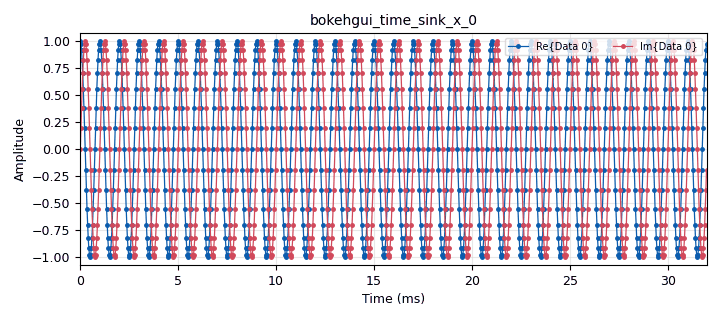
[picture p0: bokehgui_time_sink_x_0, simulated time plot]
options:
  parameters:
    author: rootkid
    generate_options: bokeh_gui
    generator_class_name: TopBlockGenerator
    generator_module: gnuradio_companion.workflows.python_bokeh_gui
    id: test_python_bokeh_gui_workflow
    output_language: python
    placement: (0, 0)
    title: Not titled yet
  states: {}

blocks:
- name: samp_rate
  id: variable
  parameters:
    value: '32000'
  states: {}
- name: analog_sig_source_x_0
  id: analog_sig_source_x
  parameters:
    amp: '1'
    freq: '1000'
    offset: '0'
    phase: '0'
    samp_rate: samp_rate
    type: complex
    waveform: analog.GR_COS_WAVE
  states: {}
- name: blocks_throttle2_0
  id: blocks_throttle2
  parameters:
    samples_per_second: samp_rate
    type: complex
  states: {}
- name: bokehgui_time_sink_x_0
  id: bokehgui_time_sink_x
  parameters:
    alpha1: '1.0'
    alpha2: '1.0'
    axislabels: 'True'
    color1: '"blue"'
    color2: '"red"'
    entags: 'True'
    grid: 'False'
    label1: ''
    label2: ''
    legend: 'True'
    marker1: None
    marker2: None
    name: '""'
    nconnections: '1'
    placement: (1, 1)
    size: '1024'
    srate: samp_rate
    style1: '"solid"'
    style2: '"solid"'
    tr_chan: '0'
    tr_delay: '0'
    tr_level: '0.0'
    tr_mode: bokehgui.TRIG_MODE_FREE
    tr_slope: bokehgui.TRIG_SLOPE_POS
    tr_tag: '""'
    type: complex
    update_time: '100'
    width1: '1'
    width2: '1'
    xlabel: Time
    xlog: 'False'
    xunit: '""'
    ylabel: Amplitude
    ylog: 'False'
    ymax: '1'
    ymin: '-1'
    yunit: '""'
  states: {}

connections:
- [analog_sig_source_x_0, '0', blocks_throttle2_0, '0']
- [blocks_throttle2_0, '0', bokehgui_time_sink_x_0, '0']

metadata:
  file_format: 1
  grc_version: v3.10.0.0git-1481-g81a99d68
